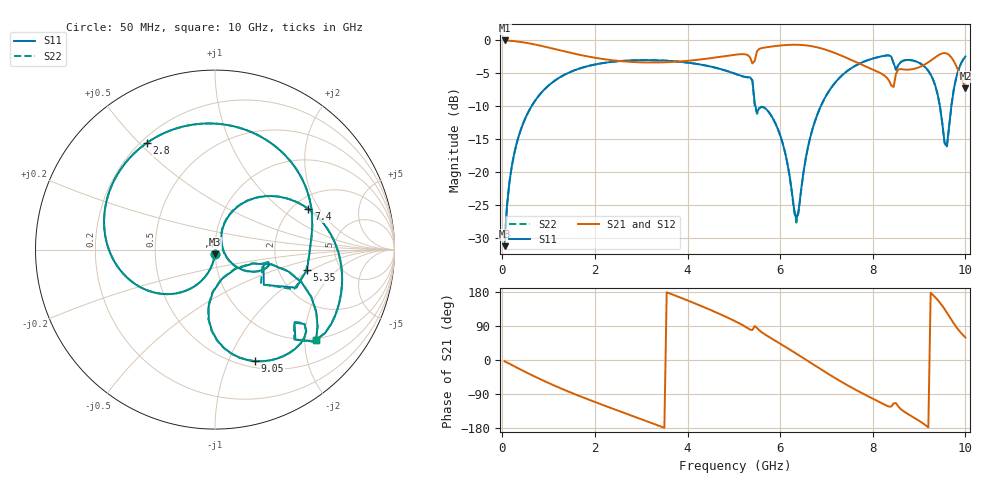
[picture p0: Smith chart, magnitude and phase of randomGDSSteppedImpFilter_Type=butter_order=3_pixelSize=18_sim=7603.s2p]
! freq	dB(S11)	phase(S11)	dB(S12)	phase(S12)
!  dB(S21)	phase(S21)	dB(S22)	phase(S22)
!S-par simulation data
#  GHz  S  DB  R 50
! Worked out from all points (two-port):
!   200 points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, 50 MHz to 10 GHz, reference 50 ohm
!   highest |S21| = -0.01 dB at 50 MHz (marker M1); lowest = -7.3 dB at 10 GHz (marker M2)
!   |S21| within 3 dB of the highest: start of sweep to 2.367 GHz; 5.454 GHz to 7.547 GHz (2.093 GHz wide, 32.2 % of centre) (the widest 2 of 4)
!   lowest |S11| = -31.3 dB at 50 MHz (marker M3), VSWR 1.06, Z = 49.8 - j2.72 ohm
!   |S11| at or under -10 dB: start of sweep to 632.2 MHz; 5.467 GHz to 6.878 GHz (1.411 GHz wide, 22.9 % of centre); 9.45 GHz to 9.697 GHz (246.8 MHz wide, 2.58 % of centre)
!   |S22| runs from -31.3 to -2.3 dB; largest |S21 - S12| = 0
!   S11 on the Smith chart (normalised r, x): 50 MHz: 1.00, -0.05; 2.8 GHz: 0.22, +0.53; 5.35 GHz: 2.89, -0.89; 7.4 GHz: 2.41, +1.61; 9.05 GHz: 0.57, -1.26; 10 GHz: 0.96, -2.27
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0.05  -31.27 -93.3  -0.01 -3.3  -0.01 -3.3  -31.27 -93.3
0.2  -19.34 -103.3  -0.07 -12.9  -0.07 -12.9  -19.34 -103.3
0.5  -11.79 -122.2  -0.35 -31.6  -0.35 -31.6  -11.79 -122.2
1.05  -6.56 -154.1  -1.18 -63.5  -1.18 -63.5  -6.56 -154.1
1.75  -4.09 170.3  -2.31 -99.1  -2.31 -99.1  -4.09 170.3
2.8  -3.03 122.5  -3.27 -147.1  -3.27 -147.1  -3.03 122.4
3.4  -3.03 95.5  -3.34 -174.3  -3.34 -174.3  -3.04 95.3
4.25  -3.63 55.3  -2.92 144.8  -2.92 144.8  -3.63 55.0
5.05  -5.12 12.7  -2.16 101.0  -2.16 101.0  -5.12 12.2
5.35  -5.61 -12.3  -2.56 80.2  -2.56 80.2  -5.66 -13.6
5.45  -9.50 -35.9  -3.13 89.5  -3.13 89.5  -9.91 -36.9
6  -14.40 -36.2  -0.78 43.1  -0.78 43.1  -14.42 -36.7
6.35  -27.25 13.7  -0.66 16.8  -0.66 16.8  -27.70 13.5
6.7  -13.42 67.1  -0.90 -10.5  -0.90 -10.5  -13.44 67.6
7.4  -4.92 23.5  -2.55 -62.9  -2.55 -62.9  -4.92 23.6
8.35  -2.27 -37.1  -6.10 -123.0  -6.10 -123.0  -2.29 -37.4
8.55  -3.77 -39.8  -4.40 -122.6  -4.40 -122.6  -3.80 -39.5
9.05  -3.60 -70.2  -3.92 -164.3  -3.92 -164.3  -3.60 -70.3
9.4  -8.19 -95.2  -2.33 158.6  -2.33 158.6  -8.20 -95.4
9.6  -16.10 -43.1  -1.99 125.1  -1.99 125.1  -16.23 -43.0
9.75  -7.42 -16.5  -3.16 96.5  -3.16 96.5  -7.44 -16.3
10  -2.43 -41.8  -7.28 59.5  -7.28 59.5  -2.44 -41.8
